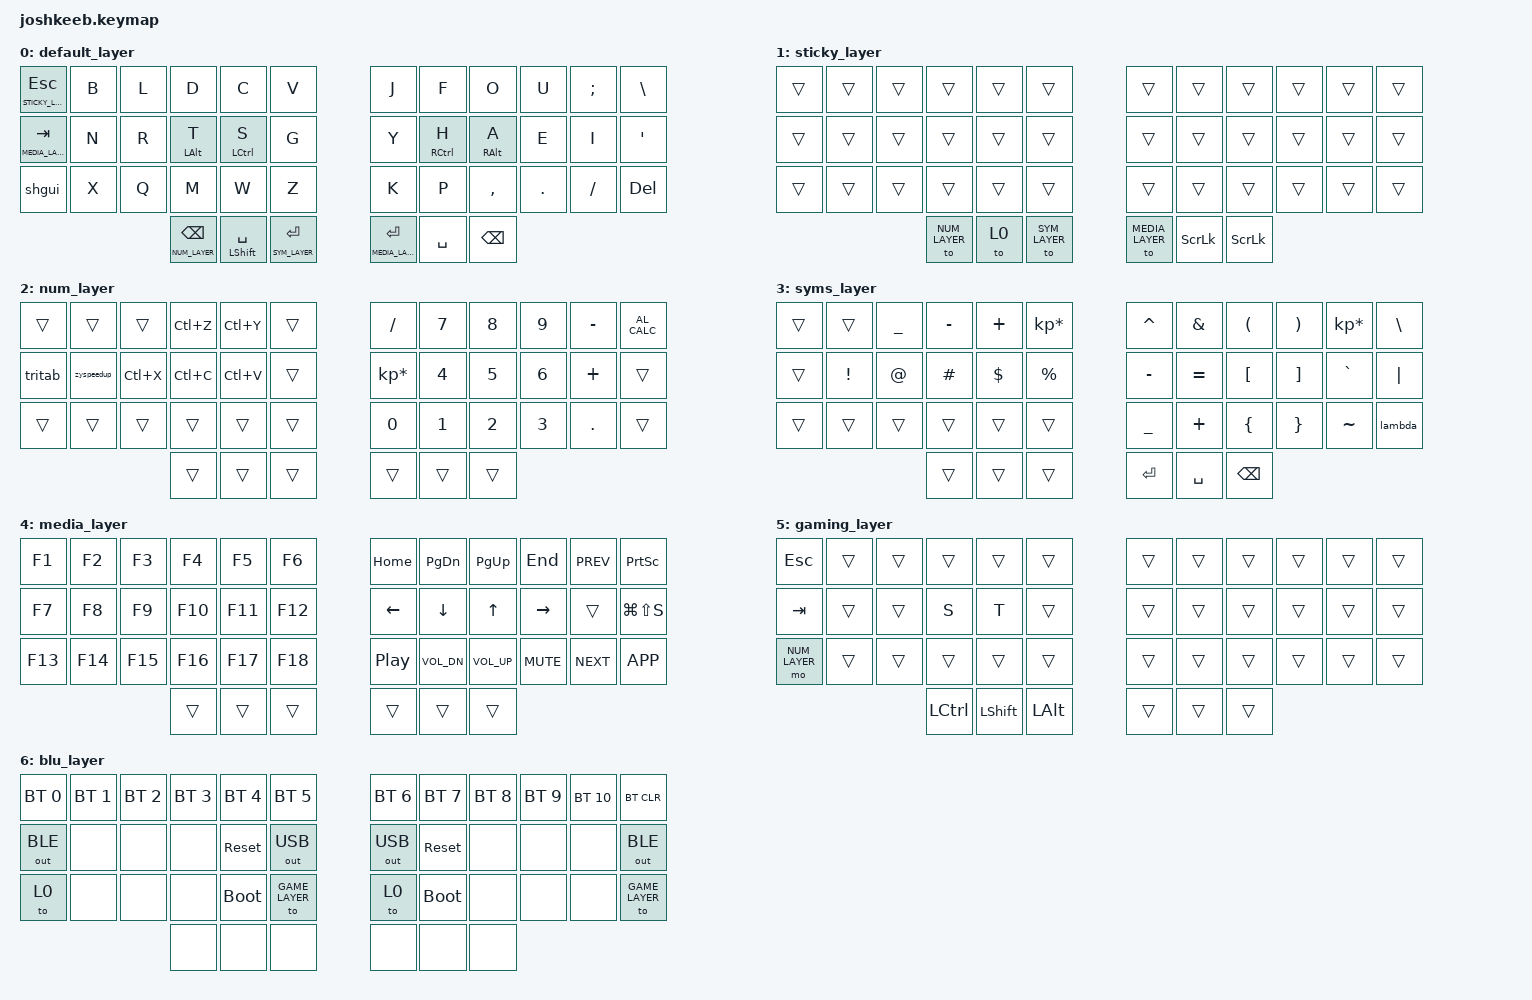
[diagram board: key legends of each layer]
/*
 * Copyright (c) 2020 The ZMK Contributors
 *
 * SPDX-License-Identifier: MIT
 */

#include <behaviors.dtsi>
#include <dt-bindings/zmk/keys.h>
#include <dt-bindings/zmk/bt.h>
#include <dt-bindings/zmk/outputs.h>

#define STICKY_LAYER 1
#define NUM_LAYER 2
#define SYM_LAYER 3
#define MEDIA_LAYER 4
#define GAME_LAYER 5
#define BLU_LAYER 6

/ {
        combos {
                compatible = "zmk,combos";
                combo_blu {
                        key-positions = <6 11>;
                        bindings = <&sl BLU_LAYER>;
                };
                combo_blu1 {
                        key-positions = <0 5>;
                        bindings = <&sl BLU_LAYER>;
                };
        };

        behaviors {
                hm: homerow_mods {
                        compatible = "zmk,behavior-hold-tap";
                        label = "HOMEROW_MODS";
                        #binding-cells = <2>;
                        tapping-term-ms = <200>;
                        quick-tap-ms = <200>;
                        flavor = "tap-preferred";
                        bindings = <&kp>, <&kp>;
                        global-quick-tap;
                };
                llt: left_layer_tap {
                        compatible = "zmk,behavior-hold-tap";
                        label = "LEFT_THUMB_LAYER_TAP";
                        #binding-cells = <2>;
                        flavor = "hold-preferred";
                        tapping-term-ms = <200>;
                        bindings = <&mo>, <&kp>;
                };
                rlt: right_layer_tap {
                        compatible = "zmk,behavior-hold-tap";
                        label = "RIGHT_THUMB_LAYER_TAP";
                        #binding-cells = <2>;
                        flavor = "balanced";
                        tapping-term-ms = <200>;
                        bindings = <&mo>, <&kp>;
                };
                shgui: shift_gui {
                        compatible = "zmk,behavior-mod-morph";
                        label = "SHIFT_GUI";
                        #binding-cells = <0>;
                        bindings = <&kp LGUI>, <&caps_word>;
                        mods = <(MOD_LSFT)>;
                };
        };

        macros {
                lambda: lambda {
                        label = "Lambda";
                        compatible = "zmk,behavior-macro";
                        wait-ms = <1>;
                        #binding-cells = <0>;
                        bindings
                            = <&kp EQUAL>
                            , <&kp GT>
                            , <&kp SPACE>
                            ;
                };
                tritab: tritab {
                        label = "Triple Tab";
                        compatible = "zmk,behavior-macro";
                        wait-ms = <10>;
                        #binding-cells = <0>;
                        bindings
                            = <&kp TAB>
                            , <&kp TAB>
                            , <&kp TAB>
                            ;
                };
                zyspeedup: zyspeedup {
                        label = "Zybooks Speedup";
                        compatible = "zmk,behavior-macro";
                        wait-ms = <10>;
                        #binding-cells = <0>;
                        bindings
                            = <&kp SPACE>
                            , <&kp TAB>
                            , <&kp SPACE>
                            , <&kp LS(TAB)>
                            ;
                };
        };

        keymap {
                compatible = "zmk,keymap";

                default_layer {
// -----------------------------------------------------------------------------------------
// | Esc/Sticky  |  B  |  L  |  D      |  C       |  V    |---|  J |  F     |  O      |  U  |  ;  | \   |
// | Tab/multi   |  N  |  R  |  T/Alt  |  S/Ctrl  |  G    |---|  Y | H/Ctrl |  A/Alt  |  E  |  I  | '   |
// | GUI/CapWord |  X  |  Q  |  M      |  W       |  Z    |---|  K |  P     |  ,      |  .  |  /  | DEL |
//                  | Num/Bksp | Space/Shft | Space/Sym |---| ENT/multi | SPACE | BKSP |
                        bindings = <
   &lt STICKY_LAYER ESC &kp B &kp L &kp D      &kp C       &kp V     &kp J &kp F        &kp O          &kp U   &kp SEMI &kp BSLH
   &lt MEDIA_LAYER TAB  &kp N &kp R &hm LALT T &hm LCTRL S &kp G     &kp Y &hm RCTRL H  &hm RALT A     &kp E   &kp I    &kp SQT
   &shgui               &kp X &kp Q &kp M      &kp W       &kp Z     &kp K &kp P        &kp COMMA      &kp DOT &kp FSLH &kp DEL
     &llt NUM_LAYER BSPC  &mt LSHFT SPACE   &llt SYM_LAYER RET       &rlt MEDIA_LAYER RET   &kp SPACE   &kp BSPC
                        >;
                };

                sticky_layer {
// ----------------------------------------------------------------------------------------
// |  |  |  |  |  |  | ----- |  |  |  |  |  |  |
// |  |  |  |  |  |  | ----- |  |  |  |  |  |  |
// |  |  |  |  |  |  | ----- |  |  |  |  |  |  |
//     | Num | DEFAULT | SYM | ----- | MEDIA | SCROLL | SCROLL |
                        bindings = <
  &trans  &trans &trans &trans &trans &trans     &trans &trans &trans &trans &trans &trans
  &trans &trans &trans &trans &trans &trans     &trans &trans &trans &trans &trans &trans
  &trans &trans &trans &trans &trans &trans     &trans &trans &trans &trans &trans &trans
          &to NUM_LAYER &to 0 &to SYM_LAYER     &to MEDIA_LAYER &kp SLCK &kp SLCK
                        >;
                };
                
                num_layer {
// -----------------------------------------------------------------------------------------
// |      |           |     | Undo | Redo  |  |---| / | 7 | 8 | 9 | - | Cal |
// | 3Tab | zyspeedup | Cut | Copy | Paste |  |---| * | 4 | 5 | 6 | + |     |
// |      |           |     |      |       |  |---| 0 | 1 | 2 | 3 | . |     |
//                             |  |  |  |---|  |   |  |
                        bindings = <
   &trans  &trans     &trans    &kp LC(Z) &kp LC(Y) &trans     &kp FSLH        &kp N7 &kp N8 &kp N9 &kp MINUS &kp C_AL_CALC
   &tritab &zyspeedup &kp LC(X) &kp LC(C) &kp LC(V) &trans     &kp KP_MULTIPLY &kp N4 &kp N5 &kp N6 &kp PLUS  &trans
   &trans  &trans     &trans    &trans    &trans    &trans     &kp N0          &kp N1 &kp N2 &kp N3 &kp DOT   &trans
                                 &trans   &trans   &trans       &trans   &trans   &trans
                        >;
                };

                syms_layer { 
// -----------------------------------------------------------------------------------------
// |   |     |  _  |  -  |  +  |  *  |---|  ^  |   &   |  (  |  )  |  *  |   \  |
// |   |  !  |  @  |  #  |  $  |  %  |---|  -  |   =   |  [  |  ]  |  `  |   |  |
// |   |     |     |     |     |     |---|  _  |   +   |  {  |  }  |  ~  |  =>  |
//                 |     |     |     |---| ENT | SPACE | BKSP |
                        bindings = <
   &trans &trans            &kp UNDER &kp MINUS &kp PLUS   &kp KP_MULTIPLY     &kp CARET &kp AMPS  &kp LPAR &kp RPAR &kp KP_MULTIPLY &kp BSLH
   &trans &kp EXCLAMATION   &kp AT    &kp POUND &kp DOLLAR &kp PERCENT         &kp MINUS &kp EQUAL &kp LBKT &kp RBKT &kp GRAVE       &kp PIPE
   &trans &trans            &trans    &trans    &trans     &trans              &kp UNDER &kp PLUS  &kp LBRC &kp RBRC &kp TILDE       &lambda
                                                     &trans &trans &trans      &kp RET &kp SPACE &kp BSPC
                        >;
                };

                media_layer {
// -----------------------------------------------------------------------------------------
// | F1  | F2  | F3  | F4   | F5   | F6  | ----- | Home | PgDn | PgUp | End   | Prev | PrtScn  |
// | F7  | F8  | F9  | F10  | F11  | F12 | ----- | Left | Down | Up   | Right |      | ScnSnip |
// | F13 | F14 | F15 | F16  | F17  | F18 | ----- | PlPu | Vol- | Vol+ | MUTE  | Next | Menu    |
//                   |      |      |     | ----- |       |      |      |
                        bindings = <
  &kp F1  &kp F2  &kp F3  &kp F4  &kp F5  &kp F6      &kp HOME   &kp PG_DN    &kp PG_UP    &kp END    &kp C_PREV &kp PSCRN
  &kp F7  &kp F8  &kp F9  &kp F10 &kp F11 &kp F12     &kp LEFT   &kp DOWN     &kp UP       &kp RIGHT  &trans     &kp LG(LS(S))
  &kp F13 &kp F14 &kp F15 &kp F16 &kp F17 &kp F18     &kp C_PP   &kp C_VOL_DN &kp C_VOL_UP &kp C_MUTE &kp C_NEXT &kp K_APP
                             &trans &trans &trans     &trans &trans &trans
                        >;
                };

                gaming_layer {
// ------------------------------------------------------------------------------------------
// | ESC |  |  |   |   |  | --- |  |  |  |  |  |  |
// | Tab |  |  | S | T |  | --- |  |  |  |  |  |  |
// | --- |  |  |   |   |  | --- |  |  |  |  |  |  |
//   | Ctrl | Shift | Alt | --- |  |  |  |
                        bindings = <
  &kp ESC       &trans &trans &trans &trans &trans    &trans &trans &trans &trans &trans &trans
  &kp TAB       &trans &trans &kp S  &kp T  &trans    &trans &trans &trans &trans &trans &trans
  &mo NUM_LAYER &trans &trans &trans &trans &trans    &trans &trans &trans &trans &trans &trans
                      &kp LCTRL &kp LSHFT &kp LALT    &trans &trans &trans
                        >;
                };

//                 qwerty_layer {  // Used for gaming Currently Satisfactory
// // -----------------------------------------------------------------------------------------
// // | ESC  | O     | Q | W | E | R | ----- | VolUp | BriUp | N | 9 | 6 | 3 |
// // | TAB  | Shift | A | S | D | F | ----- | VolDn | BriDn | P | 8 | 5 | 2 |
// // | M    | Z     | X | V | C | B | ----- |       |       | 0 | 7 | 4 | 1 |
// //                | Ctrl | Space | Alt | ----- | Num | Copy | Paste |
//                         bindings = <
//   &kp ESC   &kp O     &kp Q &kp W &kp E &kp R     &kp C_VOL_UP &kp F15 &kp N  &kp N9 &kp N6 &kp N3
//   &kp TAB   &kp LSHFT &kp A &kp S &kp D &kp F     &kp C_VOL_DN &kp F14 &kp P  &kp N8 &kp N5 &kp N2
//   &kp M     &kp Z     &kp X &kp V &kp C &kp B     &none        &none   &kp N0 &kp N7 &kp N4 &kp N1
//             &kp LCTRL &kp SPACE &kp LALT         &tog GANP_LAYER &kp LC(C) &kp LC(V)
//                         >;
//                 };

//                 qwerty_numpad {
// // |  |  |  |  |  |  | ----- |  | Bksp | 9 | 6 | 3 | RET |
// // |  |  |  |  |  |  | ----- |  | *    | 8 | 5 | 2 | .   |
// // |  |  |  |  |  |  | ----- |  | /    | 7 | 4 | 1 | 0   |
// //          |  |  |  | ----- | QWERT | - | + |
//                         bindings = <
//   &trans &trans &trans &trans &trans &trans    &trans &kp BSPC        &kp N9 &kp N6 &kp N3 &kp RET
//   &trans &trans &trans &trans &trans &trans    &trans &kp KP_MULTIPLY &kp N8 &kp N5 &kp N2 &kp DOT
//   &trans &trans &trans &trans &trans &trans    &trans &kp KP_DIVIDE   &kp N7 &kp N4 &kp N1 &kp N0
//                        &trans &trans &trans    &trans &kp KP_MINUS &kp KP_PLUS
//                        >;
//                 };

                        blu_layer {
// ------------------------------------------------------------------------
// | 0   | 1 | 2 | 3 | 4     | CLR | === | 0   | 1     | 2 | 3 | 4 | CLR |
// | BLU |   |   |   | Reset | USB | === | USB | Reset |   |   |   | BLU |
// | DL  |   |   |   | Boot  | GL  | === | DL  | Boot  |   |   |   | GL  |
//                       | | | | === | | | |
                                bindings = <
  &bt BT_SEL 0 &bt BT_SEL 1 &bt BT_SEL 2 &bt BT_SEL 3 &bt BT_SEL 4 &bt BT_SEL 5         &bt BT_SEL 6 &bt BT_SEL 7 &bt BT_SEL 8 &bt BT_SEL 9 &bt BT_SEL 10 &bt BT_CLR
  &out OUT_BLE &none        &none        &none        &sys_reset       &out OUT_USB       &out OUT_USB &sys_reset       &none        &none        &none        &out OUT_BLE
  &to 0        &none        &none        &none        &bootloader  &to GAME_LAYER     &to 0        &bootloader  &none        &none        &none        &to GAME_LAYER
                                                                &none &none &none     &none &none &none
                                >;
                        };
         };
};
